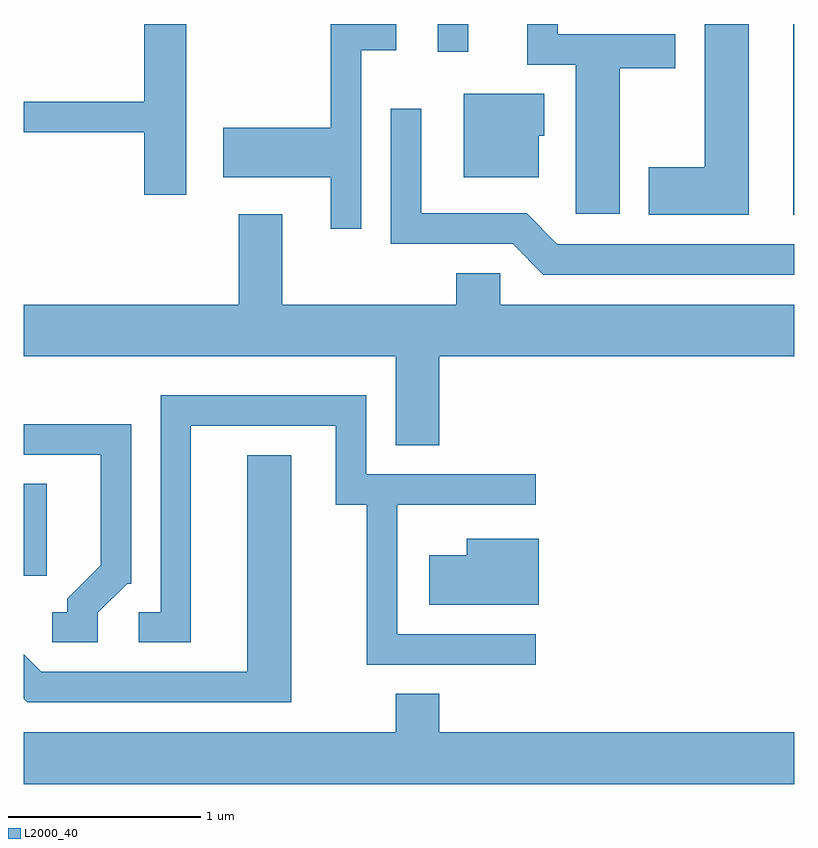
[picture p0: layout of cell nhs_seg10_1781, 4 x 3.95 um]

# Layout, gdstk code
import gdstk
lib = gdstk.Library(unit=1e-6, precision=1e-09)
def R(c, l, rs):  # rectangles x0, y0, x1, y1
    for r in rs: c.add(gdstk.rectangle(r[:2], r[2:], *l))
def P(c, l, *ps):  # polygons
    for p in ps: c.add(gdstk.Polygon(p, *l))
L2000_40 = (2000, 40)

nhs_seg10_1781 = lib.new_cell('nhs_seg10_1781')
R(nhs_seg10_1781, L2000_40, [(237.611,2121.656,237.729,2122.134), (241.606,2123.531,241.611,2124.522), (239.761,2124.378,239.919,2124.522)])
P(nhs_seg10_1781, L2000_40, [(240.704,2124.291),(240.994,2124.291),(240.994,2124.469),(240.384,2124.469),(240.384,2124.522),(240.226,2124.522),(240.226,2124.311),(240.476,2124.311),(240.476,2123.536),(240.704,2123.536)],
  [(241.374,2124.522),(241.146,2124.522),(241.146,2123.779),(240.856,2123.779),(240.856,2123.531),(241.374,2123.531)],
  [(238.454,2124.522),(238.236,2124.522),(238.236,2124.119),(237.611,2124.119),(237.611,2123.961),(238.236,2123.961),(238.236,2123.636),(238.454,2123.636)],
  [(239.364,2124.386),(239.544,2124.386),(239.544,2124.522),(239.206,2124.522),(239.206,2123.984),(238.646,2123.984),(238.646,2123.726),(239.206,2123.726),(239.206,2123.458),(239.364,2123.458)],
  [(240.284,2123.941),(240.314,2123.941),(240.314,2124.159),(239.896,2124.159),(239.896,2123.726),(240.284,2123.726)],
  [(241.611,2123.379),(240.382,2123.379),(240.222,2123.539),(239.674,2123.539),(239.674,2124.083),(239.516,2124.083),(239.516,2123.381),(240.149,2123.381),(240.309,2123.221),(241.611,2123.221)],
  [(238.954,2123.534),(238.726,2123.534),(238.726,2123.064),(237.611,2123.064),(237.611,2122.796),(239.541,2122.796),(239.541,2122.336),(239.769,2122.336),(239.769,2122.796),(241.611,2122.796),(241.611,2123.064),(240.084,2123.064),(240.084,2123.229),(239.856,2123.229),(239.856,2123.064),(238.954,2123.064)],
  [(240.268,2121.354),(239.549,2121.354),(239.549,2122.026),(240.268,2122.026),(240.268,2122.184),(239.389,2122.184),(239.389,2122.594),(238.321,2122.594),(238.321,2121.469),(238.208,2121.469),(238.208,2121.311),(238.479,2121.311),(238.479,2122.436),(239.231,2122.436),(239.231,2122.026),(239.391,2122.026),(239.391,2121.196),(240.268,2121.196)],
  [(237.994,2121.464),(238.147,2121.616),(238.169,2121.616),(238.169,2122.444),(237.611,2122.444),(237.611,2122.286),(238.011,2122.286),(238.011,2121.712),(237.836,2121.537),(237.836,2121.469),(237.758,2121.469),(237.758,2121.311),(237.994,2121.311)],
  [(238.999,2122.284),(238.771,2122.284),(238.771,2121.159),(237.702,2121.159),(237.611,2121.25),(237.611,2121.019),(237.629,2121.001),(238.999,2121.001)],
  [(240.284,2121.849),(239.911,2121.849),(239.911,2121.764),(239.716,2121.764),(239.716,2121.506),(240.284,2121.506)],
  [(241.611,2120.844),(239.769,2120.844),(239.769,2121.044),(239.541,2121.044),(239.541,2120.844),(237.611,2120.844),(237.611,2120.576),(241.611,2120.576)])

lib.write_gds('nhs_seg10_1781.gds')
